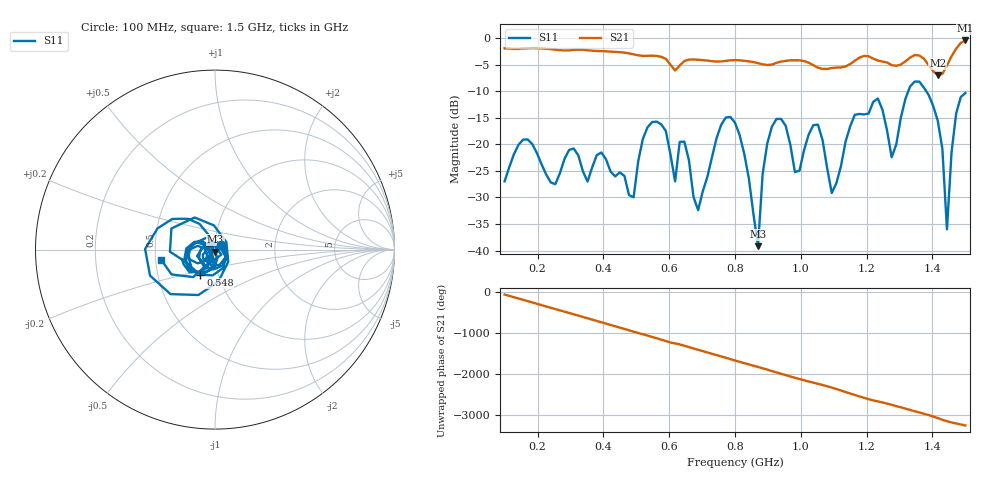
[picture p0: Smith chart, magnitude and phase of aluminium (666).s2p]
! NanoVNA-App
! Date: 2025-09-25 15:00:28
! Start: 100MHz Stop: 1,5GHz Points: 101
! S-Parameter data: F S11 S21 S12 S22
# Hz S RI R 50
!  Frequency  S11_Real  S11_Imag  S21_Real  S21_Imag  S12_Real  S12_Imag  S22_Real  S22_Imag
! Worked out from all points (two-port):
!   101 points, 100 MHz to 1.5 GHz, reference 50 ohm
!   highest |S21| = -0.45 dB at 1.5 GHz (marker M1); lowest = -7.0 dB at 1.416 GHz (marker M2)
!   |S21| within 3 dB of the highest: start of sweep to 569.1 MHz; 1.458 GHz to end of sweep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
!   lowest |S11| = -39.2 dB at 870 MHz (marker M3), VSWR 1.02, Z = 50.2 - j1.09 ohm
!   |S11| at or under -10 dB: start of sweep to 1.327 GHz; 1.381 GHz to end of sweep
!   S12 and S22 are empty: the file has one direction only
!   S11 on the Smith chart (normalised r, x): 100 MHz: 1.07, +0.06; 548 MHz: 0.82, -0.24; 1.5 GHz: 0.54, -0.07
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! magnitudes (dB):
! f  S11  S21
! 100 MHz  -27.0  -1.9
! 156 MHz  -19.1  -2.0
! 338 MHz  -25.1  -2.2
! 492 MHz  -30.0  -3.1
! 548 MHz  -15.8  -3.3
! 576 MHz  -16.2  -3.5
! 618 MHz  -27.0  -6.1
! 646 MHz  -19.5  -4.3
! 688 MHz  -32.4  -4.1
! 800 MHz  -15.9  -4.1
! 870 MHz  -39.2  -4.7
! 912 MHz  -16.7  -5.0
! 982 MHz  -25.2  -4.2
! 1.038 GHz  -16.4  -5.1
! 1.094 GHz  -29.2  -5.6
! 1.234 GHz  -11.4  -4.2
! 1.276 GHz  -22.4  -5.1
! 1.346 GHz  -8.2  -3.2
! 1.416 GHz  -15.5  -7.0
! 1.444 GHz  -36.0  -5.2
! 1.472 GHz  -14.2  -2.0
! 1.5 GHz  -10.3  -0.4
